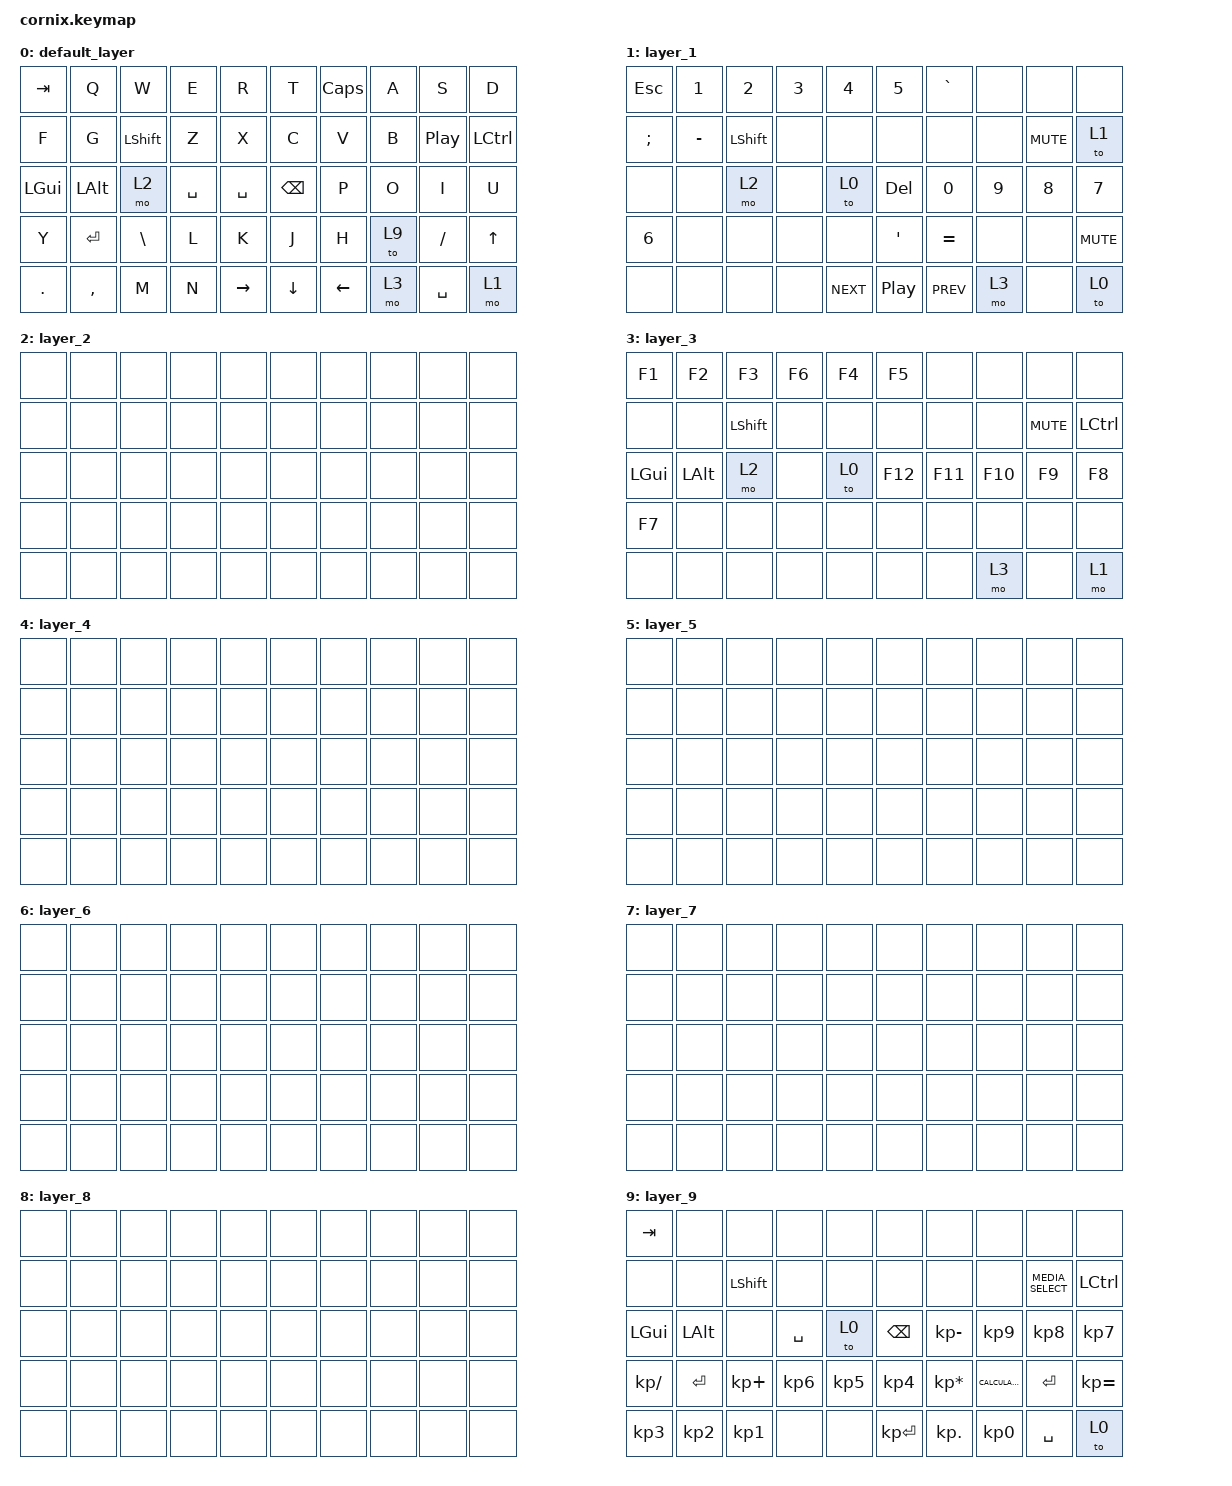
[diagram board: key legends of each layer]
/ {
  keymap {
    compatible = "zmk,keymap";

    default_layer {
      bindings = <
        &kp TAB &kp Q &kp W &kp E &kp R &kp T &kp CAPSLOCK &kp A &kp S &kp D
        &kp F &kp G &kp LSHIFT &kp Z &kp X &kp C &kp V &kp B &kp C_PLAY_PAUSE &kp LCTRL
        &kp LGUI &kp LALT &mo 2 &kp SPACE &kp SPACE &kp BSPC &kp P &kp O &kp I &kp U
        &kp Y &kp RET &kp BSLH &kp L &kp K &kp J &kp H &to 9 &kp SLASH &kp UP
        &kp DOT &kp COMMA &kp M &kp N &kp RIGHT &kp DOWN &kp LEFT &mo 3 &kp SPACE &mo 1
      >;
    };

    layer_1 {
      bindings = <
        &kp ESC &kp N1 &kp N2 &kp N3 &kp N4 &kp N5 &kp GRAVE &none &none &none
        &kp SEMI &kp MINUS &kp LSHIFT &none &none &none &none &none &kp C_MUTE &to 1
        &none &none &mo 2 &none &to 0 &kp DEL &kp N0 &kp N9 &kp N8 &kp N7
        &kp N6 &none &none &none &none &kp SQT &kp EQUAL &none &none &kp C_MUTE
        &none &none &none &none &kp C_NEXT &kp C_PLAY_PAUSE &kp C_PREV &mo 3 &none &to 0
      >;
    };

    layer_2 {
      bindings = <
        &none &none &none &none &none &none &none &none &none &none
        &none &none &none &none &none &none &none &none &none &none
        &none &none &none &none &none &none &none &none &none &none
        &none &none &none &none &none &none &none &none &none &none
        &none &none &none &none &none &none &none &none &none &none
      >;
    };

    layer_3 {
      bindings = <
        &kp F1 &kp F2 &kp F3 &kp F6 &kp F4 &kp F5 &none &none &none &none
        &none &none &kp LSHIFT &none &none &none &none &none &kp C_MUTE &kp LCTRL
        &kp LGUI &kp LALT &mo 2 &none &to 0 &kp F12 &kp F11 &kp F10 &kp F9 &kp F8
        &kp F7 &none &none &none &none &none &none &none &none &none
        &none &none &none &none &none &none &none &mo 3 &none &mo 1
      >;
    };

    layer_4 {
      bindings = <
        &none &none &none &none &none &none &none &none &none &none
        &none &none &none &none &none &none &none &none &none &none
        &none &none &none &none &none &none &none &none &none &none
        &none &none &none &none &none &none &none &none &none &none
        &none &none &none &none &none &none &none &none &none &none
      >;
    };

    layer_5 {
      bindings = <
        &none &none &none &none &none &none &none &none &none &none
        &none &none &none &none &none &none &none &none &none &none
        &none &none &none &none &none &none &none &none &none &none
        &none &none &none &none &none &none &none &none &none &none
        &none &none &none &none &none &none &none &none &none &none
      >;
    };

    layer_6 {
      bindings = <
        &none &none &none &none &none &none &none &none &none &none
        &none &none &none &none &none &none &none &none &none &none
        &none &none &none &none &none &none &none &none &none &none
        &none &none &none &none &none &none &none &none &none &none
        &none &none &none &none &none &none &none &none &none &none
      >;
    };

    layer_7 {
      bindings = <
        &none &none &none &none &none &none &none &none &none &none
        &none &none &none &none &none &none &none &none &none &none
        &none &none &none &none &none &none &none &none &none &none
        &none &none &none &none &none &none &none &none &none &none
        &none &none &none &none &none &none &none &none &none &none
      >;
    };

    layer_8 {
      bindings = <
        &none &none &none &none &none &none &none &none &none &none
        &none &none &none &none &none &none &none &none &none &none
        &none &none &none &none &none &none &none &none &none &none
        &none &none &none &none &none &none &none &none &none &none
        &none &none &none &none &none &none &none &none &none &none
      >;
    };

    layer_9 {
      bindings = <
        &kp TAB &none &none &none &none &none &none &none &none &none
        &none &none &kp LSHIFT &none &none &none &none &none &kp C_MEDIA_SELECT &kp LCTRL
        &kp LGUI &kp LALT &none &kp SPACE &to 0 &kp BSPC &kp KP_MINUS &kp KP_N9 &kp KP_N8 &kp KP_N7
        &kp KP_SLASH &kp RET &kp KP_PLUS &kp KP_N6 &kp KP_N5 &kp KP_N4 &kp KP_MULTIPLY &kp C_CALCULATOR &kp RET &kp KP_EQUAL
        &kp KP_N3 &kp KP_N2 &kp KP_N1 &none &none &kp KP_ENTER &kp KP_DOT &kp KP_N0 &kp SPACE &to 0
      >;
    };
  };
};
